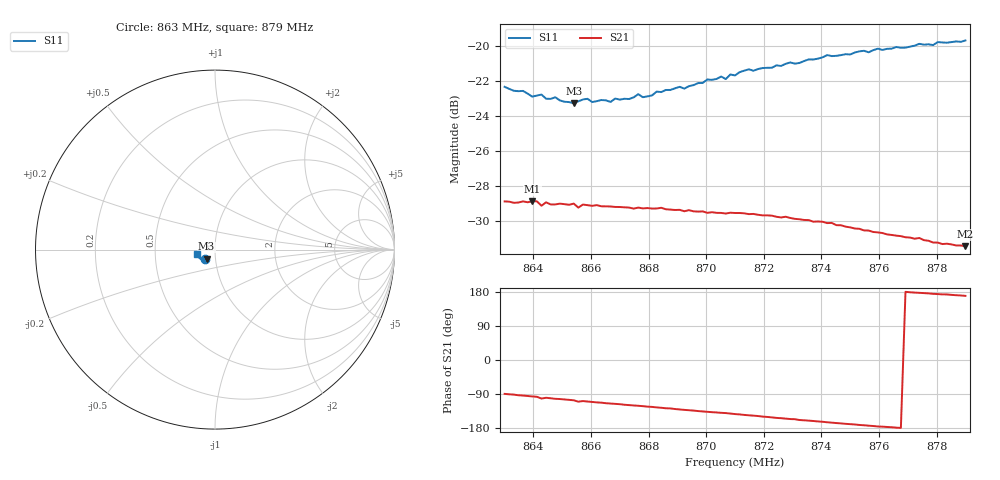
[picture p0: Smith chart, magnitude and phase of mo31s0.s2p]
# HZ S RI R 50
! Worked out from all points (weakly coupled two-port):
!   101 points, 863 MHz to 879 MHz, reference 50 ohm
!   highest |S21| = -28.86 dB at 863.96 MHz (marker M1); lowest = -31.4 dB at 879 MHz (marker M2)
!   lowest |S11| = -23.3 dB at 865.4 MHz (marker M3), VSWR 1.15, Z = 45.3 - j4.59 ohm
!   |S11| at or under -10 dB: start of sweep to end of sweep
!   S12 and S22 are empty: the file has one direction only
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8.63e8  -0.0574 -0.0507  0.000401 -0.036  0 0  0 0
8.6364e8  -0.0542 -0.0512  -0.00237 -0.036  0 0  0 0
8.6396e8  -0.0514 -0.0502  -0.00388 -0.0359  0 0  0 0
8.6428e8  -0.0504 -0.0526  -0.0071 -0.0343  0 0  0 0
8.6444e8  -0.0498 -0.0504  -0.00601 -0.0353  0 0  0 0
8.6476e8  -0.05 -0.0511  -0.00762 -0.0345  0 0  0 0
8.654e8  -0.0468 -0.0504  -0.00999 -0.0341  0 0  0 0
8.6556e8  -0.0478 -0.0507  -0.0118 -0.0325  0 0  0 0
8.6572e8  -0.0475 -0.0521  -0.0111 -0.0335  0 0  0 0
8.6668e8  -0.0456 -0.0522  -0.0147 -0.0316  0 0  0 0
8.6684e8  -0.0465 -0.0535  -0.0151 -0.0313  0 0  0 0
8.6732e8  -0.0456 -0.054  -0.0168 -0.0303  0 0  0 0
8.6764e8  -0.0466 -0.0562  -0.0177 -0.0297  0 0  0 0
8.678e8  -0.0463 -0.0545  -0.0182 -0.0293  0 0  0 0
8.6844e8  -0.047 -0.0572  -0.0204 -0.0279  0 0  0 0
8.7004e8  -0.0525 -0.0609  -0.0243 -0.0229  0 0  0 0
8.71e8  -0.057 -0.0598  -0.0266 -0.0203  0 0  0 0
8.7148e8  -0.0601 -0.0614  -0.0275 -0.0186  0 0  0 0
8.7372e8  -0.0711 -0.0579  -0.0298 -0.0103  0 0  0 0
8.742e8  -0.0767 -0.055  -0.0301 -0.00845  0 0  0 0
8.7644e8  -0.0885 -0.0432  -0.0289 -0.0013  0 0  0 0
8.79e8  -0.1011 -0.0239  -0.0264 0.005  0 0  0 0
